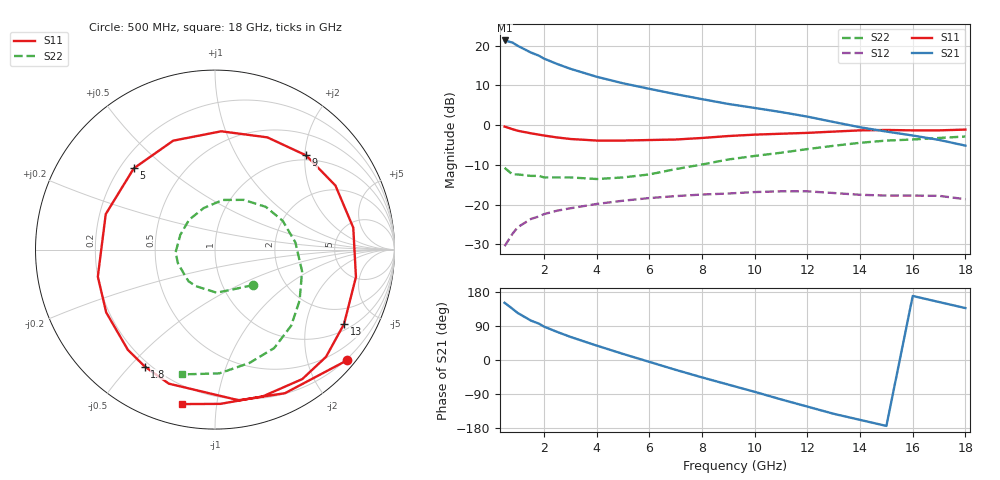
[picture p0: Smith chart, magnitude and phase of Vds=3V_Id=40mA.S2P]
!ATF-34143
!S-PARAMETERS at Vds=3V  Id=40mA.  LAST UPDATED 01-29-99
# ghz s ma r 50
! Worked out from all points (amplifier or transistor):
!   23 points, 500 MHz to 18 GHz, reference 50 ohm
!   highest |S21| = 21.3 dB at 500 MHz (marker M1)
!   |S21| within 3 dB of that: start of sweep to 1.489 GHz
!   unconditionally stable (mu >= 1): 5.776 GHz to end of sweep
!   at 1.5 GHz: K = 0.42, MSG = 20.9 dB, |S12| = -23.6 dB
!   at 7 GHz: K = 1.09, MAG = 11.0 dB, |S12| = -17.9 dB
!   at 18 GHz: K = 1.42, MAG = 2.9 dB, |S12| = -18.6 dB
!   lowest NFmin = 0.10 dB at 500 MHz
!   S11 on the Smith chart (normalised r, x): 500 MHz: 0.17, -2.74; 1.8 GHz: 0.18, -0.55; 5 GHz: 0.26, +0.39; 9 GHz: 0.90, +2.02; 13 GHz: 1.24, -3.30; 18 GHz: 0.11, -0.80
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0.5  0.96 -40.0  11.64 151.0  0.03 68.0  0.29 -43.0
0.8  0.89 -64.0  10.95 135.0  0.043 56.0  0.24 -70.0
1  0.85 -81.0  9.956 124.0  0.052 49.0  0.24 -88.0
1.5  0.79 -109.0  8.209 104.0  0.066 36.0  0.23 -118.0
1.8  0.76 -121.0  7.495 96.0  0.071 32.0  0.23 -130.0
2  0.74 -131.0  6.876 88.0  0.076 27.0  0.22 -141.0
2.5  0.7 -150.0  5.88 74.0  0.084 19.0  0.22 -160.0
3  0.67 -167.0  5.12 61.0  0.09 12.0  0.22 -176.0
4  0.64 162.0  4.063 38.0  0.102 -1.0  0.21 157.0
5  0.64 135.0  3.365 16.0  0.112 -14.0  0.22 131.0
6  0.65 111.0  2.867 -5.0  0.121 -28.0  0.24 105.0
7  0.66 87.0  2.454 -26.0  0.128 -42.0  0.28 81.0
8  0.69 65.0  2.125 -46.0  0.134 -55.0  0.32 60.0
9  0.73 46.0  1.848 -65.0  0.138 -69.0  0.37 40.0
10  0.76 28.0  1.647 -84.0  0.144 -84.0  0.41 23.0
11  0.78 9.0  1.462 -104.0  0.147 -99.0  0.45 5.0
12  0.8 -11.0  1.281 -123.0  0.147 -114.0  0.5 -14.0
13  0.83 -30.0  1.095 -142.0  0.14 -130.0  0.55 -31.0
15  0.87 -56.0  0.831 -174.0  0.13 -154.0  0.64 -59.0
16  0.86 -72.0  0.741 169.0  0.13 -166.0  0.66 -73.0
17  0.86 -88.0  0.652 153.0  0.129 179.0  0.69 -88.0
18  0.88 -102.0  0.553 137.0  0.117 166.0  0.72 -105.0
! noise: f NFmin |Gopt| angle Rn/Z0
0.5  0.1  0.87  13  0.16
0.9  0.13  0.82  28  0.13
1.5  0.17  0.73  50  0.1
1.8  0.21  0.7  61  0.09
2.5  0.29  0.6  87  0.06
3  0.35  0.54  106  0.05
5  0.6  0.41  -178  0.03
6  0.72  0.39  -142  0.06
8  0.97  0.45  -80  0.21
10  1.22  0.61  -39  0.5
